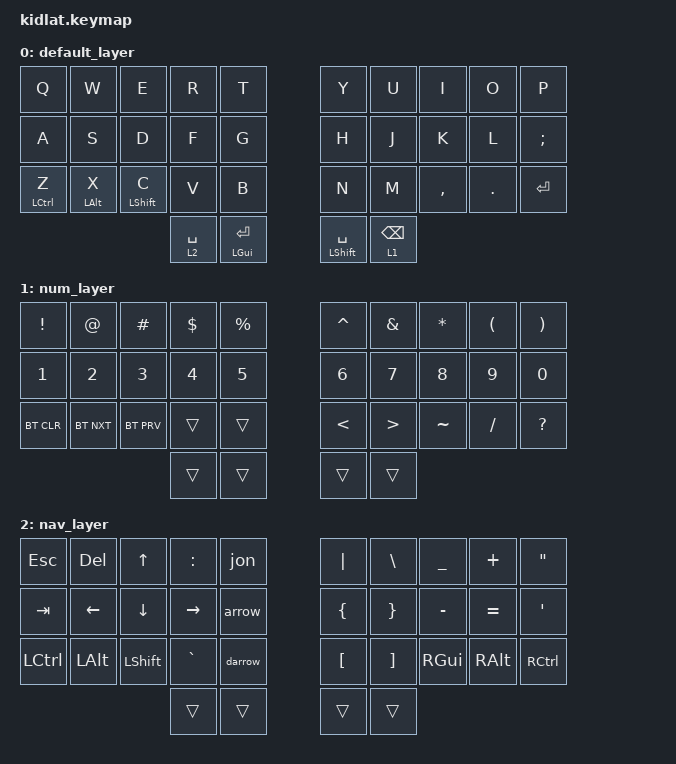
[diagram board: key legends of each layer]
#include <behaviors.dtsi>
#include <dt-bindings/zmk/keys.h>
#include <dt-bindings/zmk/bt.h>

/ {

    behaviors {
        hm: homerow_mods {
            compatible = "zmk,behavior-hold-tap";
            label = "homerow mods";
            #binding-cells = <2>;
            tapping_term_ms = <225>;
            flavor = "tap-preferred";
            bindings = <&kp>, <&kp>;
        };
    };

    macros {
        jon: jon {
            label = "jon";
            compatible = "zmk,behavior-macro";
            #binding-cells = <0>;
            wait-ms = <10>;
            bindings
                = <&macro_tap_time 10>
                , <&kp J &kp O &kp N &kp N9 &kp N9>
                ;
        };

        arrow: arrow {
            label = "arrow";
            compatible = "zmk,behavior-macro";
            #binding-cells = <0>;
            wait-ms = <10>;
            bindings
                = <&macro_tap_time 10>
                , <&kp MINUS &kp GT>
                ;
        };

        darrow: darrow {
            label = "double arrow";
            compatible = "zmk,behavior-macro";
            #binding-cells = <0>;
            wait-ms = <10>;
            bindings
                = <&macro_tap_time 10>
                , <&kp EQUAL &kp GT>
                ;
        };
    };

    keymap {
        compatible = "zmk,keymap";

        default_layer {
            bindings = <
                &kp Q   &kp W   &kp E   &kp R   &kp T                       &kp Y   &kp U   &kp I   &kp O   &kp P  
                &kp A   &kp S   &kp D   &kp F   &kp G                       &kp H   &kp J   &kp K   &kp L   &kp SEMICOLON  
                &hm LCTRL Z   &hm LALT X   &hm LSHFT C   &kp V   &kp B      &kp N   &kp M   &kp COMMA   &kp DOT   &kp ENTER
                        &lt 2 SPACE  &hm LGUI ENTER                  &hm LSHFT SPACE  &lt 1 BSPC   
            >;
        };

        num_layer {
            bindings = <
                &kp EXCL   &kp AT   &kp HASH   &kp DOLLAR   &kp PERCENT           &kp CARET   &kp AMPS   &kp STAR   &kp LPAR   &kp RPAR  
                &kp N1   &kp N2   &kp N3   &kp N4   &kp N5                          &kp N6   &kp N7  &kp N8   &kp N9   &kp N0  
                &bt BT_CLR  &bt BT_NXT   &bt BT_PRV   &trans   &trans          &kp LT   &kp GT   &kp TILDE   &kp FSLH   &kp QMARK 
                        &trans   &trans                     &trans   &trans  
            >;
        };

        nav_layer {
            bindings = <
                &kp ESC   &kp DEL   &kp UP  &kp COLON    &jon                &kp PIPE    &kp BSLH  &kp UNDER   &kp PLUS   &kp DQT
                &kp TAB   &kp LEFT   &kp DOWN   &kp RIGHT   &arrow           &kp LBRC   &kp RBRC   &kp MINUS   &kp EQUAL    &kp SQT  
                &kp LCTRL   &kp LALT   &kp LSHFT   &kp GRAVE   &darrow       &kp LBKT   &kp RBKT   &kp RGUI   &kp RALT   &kp RCTRL
                        &trans   &trans                     &trans   &trans  
            >;
        };

    };
};
